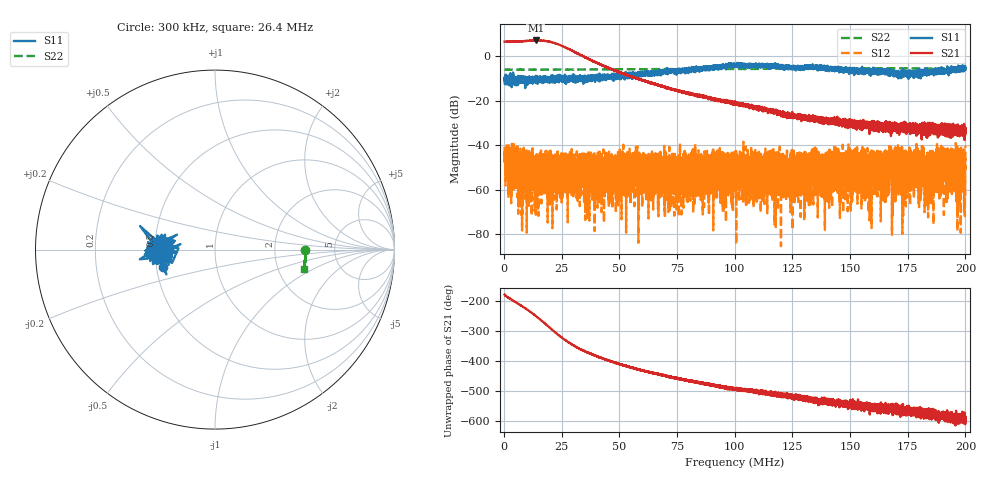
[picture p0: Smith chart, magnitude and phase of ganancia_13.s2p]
# Hz S DB R 50
! CMT, M5065, 19127446, 24.2.4/2
! Date: 10/29/2024 12:05:47 PM
! Data: Format (Calibration Info)
! Freq	S11:dB/Ang(F2)	S21:dB/Ang(F2)	S12:dB/Ang(F2)	S22:dB/Ang(F2)
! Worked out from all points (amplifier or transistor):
!   9000 points, 300 kHz to 200 MHz, reference 50 ohm
!   highest |S21| = 7.2 dB at 13.77 MHz (marker M1)
!   |S21| within 3 dB of that: start of sweep to 26.32 MHz (the widest 1 of 2)
!   unconditionally stable (mu >= 1): start of sweep to end of sweep
!   at 33.59 MHz: K = 141.73, MAG = 2.4 dB, |S12| = -53.3 dB
!   at 100.2 MHz: K = 987.18, MAG = -17.8 dB, |S12| = -51.5 dB
!   at 200 MHz: K = 1511.38, MAG = -32.2 dB, |S12| = -40.1 dB
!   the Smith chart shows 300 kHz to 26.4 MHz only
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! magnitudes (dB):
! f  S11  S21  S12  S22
! 300 kHz  -10.3  6.7  -40.6  -6.0
! 2.342 MHz  -9.1  6.6  -50.1  -6.0
! 13.77 MHz  -11.3  7.2  -54.2  -5.9
! 33.59 MHz  -8.9  0.4  -53.3  -5.8
! 42.71 MHz  -8.1  -4.0  -45.5  -5.8
! 44.73 MHz  -9.4  -4.8  -50.7  -5.8
! 49.52 MHz  -9.0  -6.8  -55.9  -5.8
! 57.24 MHz  -7.9  -9.7  -50.9  -5.7
! 59.24 MHz  -6.9  -10.5  -48.3  -5.7
! 66.87 MHz  -6.8  -13.0  -55.7  -5.7
! 100.2 MHz  -4.2  -21.3  -51.5  -5.6
! 117.8 MHz  -4.5  -24.5  -45.1  -5.5
! 118.9 MHz  -4.8  -25.2  -45.3  -5.5
! 123.3 MHz  -4.6  -26.2  -50.8  -5.5
! 133.4 MHz  -4.5  -27.7  -52.4  -5.3
! 166.7 MHz  -8.7  -31.5  -50.3  -5.3
! 181.2 MHz  -7.2  -32.1  -47.2  -5.4
! 183.2 MHz  -7.0  -32.7  -47.4  -5.4
! 193.1 MHz  -6.5  -33.1  -53.7  -5.4
! 197.1 MHz  -5.6  -31.8  -54.9  -5.5
! 199 MHz  -5.7  -31.6  -54.4  -5.5
! 200 MHz  -6.0  -35.0  -40.1  -5.4
